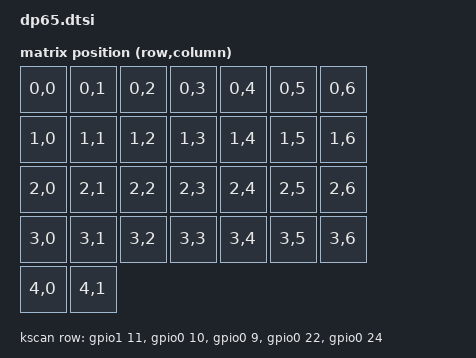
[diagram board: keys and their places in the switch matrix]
#include <dt-bindings/zmk/matrix_transform.h>

#include "dp65-layouts.dtsi"

/ {
    chosen {
        zmk,physical-layout = &default_layout;
    };

    kscan: kscan {
        compatible = "zmk,kscan-gpio-matrix";
        diode-direction = "col2row";
        wakeup-source;

        /* Schematic nets -> nRF GPIOs (avoid &pro_micro Arduino D-numbers) */
        row-gpios
            = <&gpio1 11 (GPIO_ACTIVE_HIGH | GPIO_PULL_DOWN)> /* L_ROW0 P1.11 */
            , <&gpio0 10 (GPIO_ACTIVE_HIGH | GPIO_PULL_DOWN)> /* L_ROW1 P0.10 */
            , <&gpio0 9 (GPIO_ACTIVE_HIGH | GPIO_PULL_DOWN)>  /* L_ROW2 P0.09 */
            , <&gpio0 22 (GPIO_ACTIVE_HIGH | GPIO_PULL_DOWN)> /* L_ROW3 P0.22 */
            , <&gpio0 24 (GPIO_ACTIVE_HIGH | GPIO_PULL_DOWN)> /* L_ROW4 P0.24 */
            ;
    };

    default_transform: default_transform {
        compatible = "zmk,matrix-transform";
        columns = <7>;
        rows = <5>;

        map = <
            RC(0,0) RC(0,1) RC(0,2) RC(0,3) RC(0,4) RC(0,5) RC(0,6)
            RC(1,0) RC(1,1) RC(1,2) RC(1,3) RC(1,4) RC(1,5) RC(1,6)
            RC(2,0) RC(2,1) RC(2,2) RC(2,3) RC(2,4) RC(2,5) RC(2,6)
            RC(3,0) RC(3,1) RC(3,2) RC(3,3) RC(3,4) RC(3,5) RC(3,6)
            RC(4,0) RC(4,1)
        >;
    };
};
